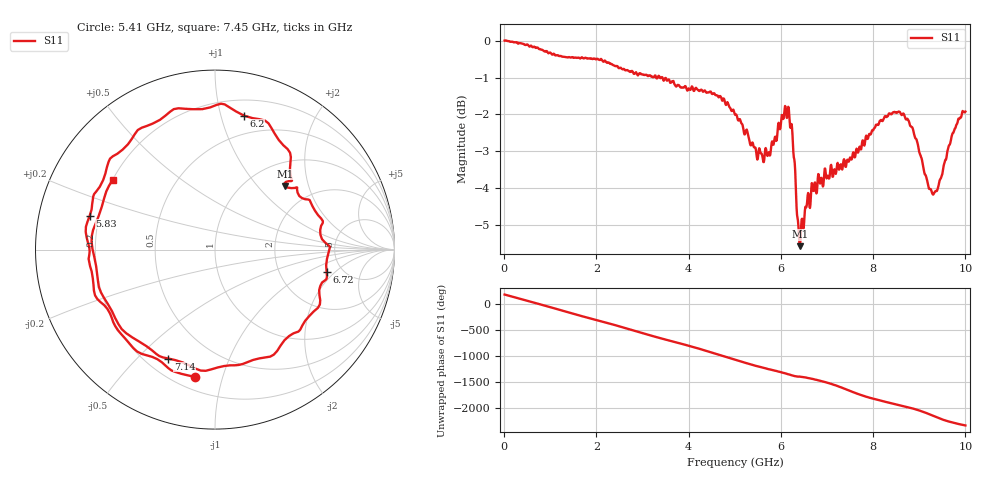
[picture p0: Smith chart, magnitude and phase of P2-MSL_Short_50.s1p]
! 2/19/2018 12:57:58 PM
! E:\STEPPED_EXPERIMENT_2018-02-19\P2-MSL_SHORT_50.S1P
! CHANNEL.1
! TR.MEASUREMENT
! CORRECTED.DATA
! Decimated for TDR Painter validation: every 10th frequency point (10 MHz steps), values unchanged.
# GHZ S RI R 50.0
! FREQ.GHZ  S22RE  S22IM
!; PortSelection: Port_2
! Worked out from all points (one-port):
!   1000 points, 10 MHz to 10 GHz, reference 50 ohm
!   lowest |S11| = -5.6 dB at 6.41 GHz (marker M1), VSWR 3.22, Z = 72.5 + j71.1 ohm
!   |S11| at or under -10 dB: nowhere
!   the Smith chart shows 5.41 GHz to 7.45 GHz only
!   S11 on the Smith chart (normalised r, x): 5.41 GHz: 0.28, -0.82; 5.83 GHz: 0.16, +0.13; 6.2 GHz: 0.33, +1.18; 6.72 GHz: 3.79, -1.56; 7.14 GHz: 0.29, -0.62; 7.45 GHz: 0.20, +0.30
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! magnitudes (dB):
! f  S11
! 10 MHz  0.0
! 1.26 GHz  -0.4
! 2.51 GHz  -0.7
! 3.76 GHz  -1.2
! 4.58 GHz  -1.5
! 5.01 GHz  -2.0
! 5.41 GHz  -2.9
! 5.6 GHz  -3.1
! 5.83 GHz  -2.8
! 6.06 GHz  -2.1
! 6.13 GHz  -2.1
! 6.2 GHz  -2.3
! 6.26 GHz  -2.8
! 6.37 GHz  -4.9
! 6.41 GHz  -5.6
! 6.45 GHz  -4.8
! 6.72 GHz  -4.0
! 7.14 GHz  -3.6
! 7.45 GHz  -3.2
! 7.51 GHz  -3.2
! 8.3 GHz  -2.1
! 8.54 GHz  -1.9
! 8.76 GHz  -2.1
! 8.92 GHz  -2.7
! 9.19 GHz  -3.9
! 9.33 GHz  -4.1
! 9.75 GHz  -2.5
! 10 GHz  -1.9
